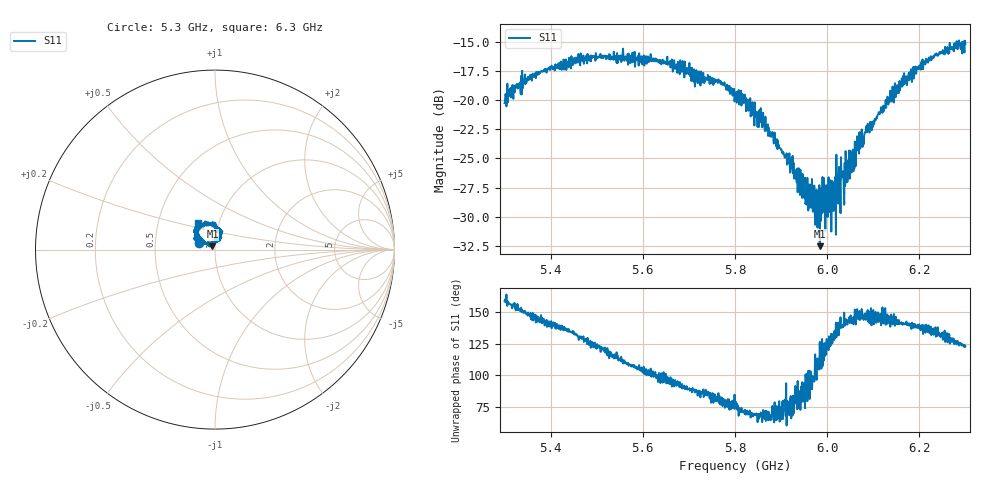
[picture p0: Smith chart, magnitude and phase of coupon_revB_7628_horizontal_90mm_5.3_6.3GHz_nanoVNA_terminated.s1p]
! NanoVNA-App
! Date: 2026-11-01 21:52:42
! Start: 5,3GHz Stop: 6,3GHz Points: 1001
! S-Parameter data: F S11
# Hz S RI R 50
!  Frequency  S11_Real  S11_Imag
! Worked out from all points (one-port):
!   1001 points, 5.3 GHz to 6.3 GHz, reference 50 ohm
!   lowest |S11| = -32.5 dB at 5.984 GHz (marker M1), VSWR 1.05, Z = 48.6 + j1.85 ohm
!   |S11| at or under -10 dB: start of sweep to end of sweep
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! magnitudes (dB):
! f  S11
! 5.3 GHz  -20.3
! 5.341 GHz  -18.6
! 5.425 GHz  -16.8
! 5.493 GHz  -16.2
! 5.55 GHz  -16.5
! 5.622 GHz  -16.4
! 5.675 GHz  -17.7
! 5.764 GHz  -18.2
! 5.8 GHz  -19.7
! 5.818 GHz  -19.5
! 5.858 GHz  -21.6
! 5.925 GHz  -24.8
! 5.956 GHz  -29.0
! 5.967 GHz  -26.8
! 5.984 GHz  -32.5
! 6.007 GHz  -26.9
! 6.014 GHz  -29.1
! 6.015 GHz  -27.1
! 6.022 GHz  -27.5
! 6.024 GHz  -28.9
! 6.025 GHz  -26.8
! 6.034 GHz  -26.3
! 6.035 GHz  -26.1
! 6.05 GHz  -24.3
! 6.085 GHz  -22.2
! 6.175 GHz  -18.0
! 6.232 GHz  -16.2
! 6.3 GHz  -15.2
